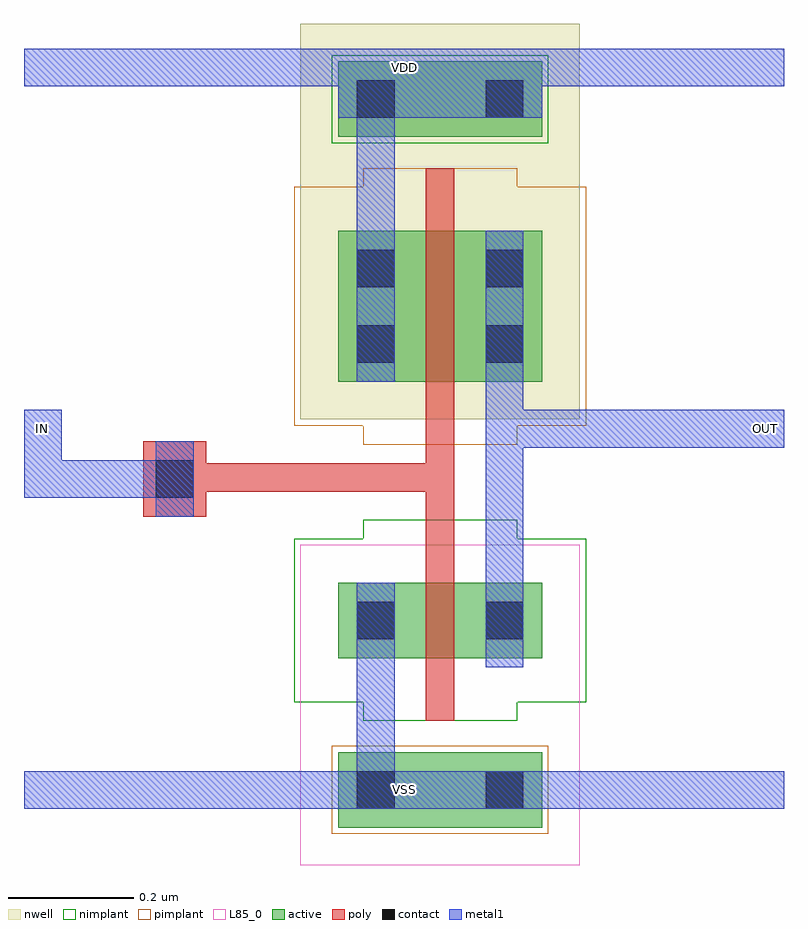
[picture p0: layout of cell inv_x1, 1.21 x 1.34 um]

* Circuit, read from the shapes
.subckt inv_x1 IN OUT VDD VSS
M1 OUT IN VSS VSS nfet w=0.12u l=0.045u
M2 OUT IN VDD VDD pfet w=0.24u l=0.045u
.ends

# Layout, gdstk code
import gdstk
lib = gdstk.Library(unit=1e-6, precision=5e-10)
def R(c, l, rs):  # rectangles x0, y0, x1, y1
    for r in rs: c.add(gdstk.rectangle(r[:2], r[2:], *l))
active = (1, 0)
nwell = (2, 0)
poly = (3, 0)
nimplant = (4, 0)
pimplant = (5, 0)
contact = (6, 0)
metal1 = (7, 0)
L85_0 = (85, 0)

nmos1v_cdns_777489253200 = lib.new_cell('nmos1v_CDNS_777489253200')
R(nmos1v_cdns_777489253200, active, [(-0.14,-0.27,0.185,-0.15), (-0.14,0,0,0.12), (0,0,0.045,0.12), (0.045,0,0.185,0.12)])
R(nmos1v_cdns_777489253200, poly, [(0,-0.1,0.045,-0.05), (0,-0.05,0.045,0), (0,0,0.045,0.12), (0,0.12,0.045,0.17), (0,0.17,0.045,0.22)])
R(nmos1v_cdns_777489253200, nimplant, [(-0.1,-0.1,0.145,0.22), (-0.21,-0.07,0.255,0.19)])
R(nmos1v_cdns_777489253200, pimplant, [(-0.15,-0.28,0.195,-0.14)])
R(nmos1v_cdns_777489253200, contact, [(-0.11,-0.24,-0.05,-0.18), (0.095,-0.24,0.155,-0.18), (-0.11,0.03,-0.05,0.09), (0.095,0.03,0.155,0.09)])
R(nmos1v_cdns_777489253200, metal1, [(-0.14,-0.24,0.185,-0.18), (-0.11,0,-0.05,0.12), (0.095,0,0.155,0.12)])
R(nmos1v_cdns_777489253200, L85_0, [(-0.2,-0.33,0.245,0.18)])
nmos1v_cdns_777489253200.add(gdstk.Label('B_botTap', (0.0225,-0.21), layer=1, texttype=0))
nmos1v_cdns_777489253200.add(gdstk.Label('D_drain_1', (0.115,0.06), layer=1, texttype=0))
nmos1v_cdns_777489253200.add(gdstk.Label('S_source_0', (-0.07,0.06), layer=1, texttype=0))
nmos1v_cdns_777489253200.add(gdstk.Label('G_gate_1', (0.0225,-0.075), layer=3, texttype=0))
nmos1v_cdns_777489253200.add(gdstk.Label('G_gate_1', (0.0225,0.195), layer=3, texttype=0))
nmos1v_cdns_777489253200.add(gdstk.Label('B_botTap', (0.0225,-0.21), layer=7, texttype=0))
nmos1v_cdns_777489253200.add(gdstk.Label('D_drain_1', (0.125,0.06), layer=7, texttype=0))
nmos1v_cdns_777489253200.add(gdstk.Label('S_source_0', (-0.08,0.06), layer=7, texttype=0))
nmos1v_cdns_777489253200.add(gdstk.Label('B_botTap', (0.0225,-0.075), layer=85, texttype=0))

pmos1v_cdns_777489253201 = lib.new_cell('pmos1v_CDNS_777489253201')
R(pmos1v_cdns_777489253201, active, [(-0.14,0,0,0.24), (0,0,0.045,0.24), (0.045,0,0.185,0.24), (-0.14,0.39,0.185,0.51)])
R(pmos1v_cdns_777489253201, nwell, [(-0.2,-0.06,0.245,0.57)])
R(pmos1v_cdns_777489253201, poly, [(0,-0.1,0.045,-0.05), (0,-0.05,0.045,0), (0,0,0.045,0.24), (0,0.24,0.045,0.29), (0,0.29,0.045,0.34)])
R(pmos1v_cdns_777489253201, nimplant, [(-0.15,0.38,0.195,0.52)])
R(pmos1v_cdns_777489253201, pimplant, [(-0.1,-0.1,0.145,0.34), (-0.21,-0.07,0.255,0.31)])
R(pmos1v_cdns_777489253201, contact, [(-0.11,0.03,-0.05,0.09), (0.095,0.03,0.155,0.09), (-0.11,0.15,-0.05,0.21), (0.095,0.15,0.155,0.21), (-0.11,0.42,-0.05,0.48), (0.095,0.42,0.155,0.48)])
R(pmos1v_cdns_777489253201, metal1, [(-0.11,0,-0.05,0.24), (0.095,0,0.155,0.24), (-0.14,0.42,0.185,0.48)])
pmos1v_cdns_777489253201.add(gdstk.Label('B_topTap', (0.0225,0.45), layer=1, texttype=0))
pmos1v_cdns_777489253201.add(gdstk.Label('D_drain_1', (0.115,0.12), layer=1, texttype=0))
pmos1v_cdns_777489253201.add(gdstk.Label('S_source_0', (-0.07,0.12), layer=1, texttype=0))
pmos1v_cdns_777489253201.add(gdstk.Label('G_gate_1', (0.0225,-0.075), layer=3, texttype=0))
pmos1v_cdns_777489253201.add(gdstk.Label('G_gate_1', (0.0225,0.315), layer=3, texttype=0))
pmos1v_cdns_777489253201.add(gdstk.Label('B_topTap', (0.0225,0.45), layer=7, texttype=0))
pmos1v_cdns_777489253201.add(gdstk.Label('D_drain_1', (0.125,0.12), layer=7, texttype=0))
pmos1v_cdns_777489253201.add(gdstk.Label('S_source_0', (-0.08,0.12), layer=7, texttype=0))
pmos1v_cdns_777489253201.add(gdstk.Label('B_topTap', (0.0225,0.255), layer=2, texttype=0))

m1_po_cdns_777489253200 = lib.new_cell('M1_PO_CDNS_777489253200')
R(m1_po_cdns_777489253200, poly, [(-0.05,-0.06,0.05,0.06)])
R(m1_po_cdns_777489253200, contact, [(-0.03,-0.03,0.03,0.03)])
R(m1_po_cdns_777489253200, metal1, [(-0.03,-0.06,0.03,0.06)])

inv_x1 = lib.new_cell('inv_x1')
R(inv_x1, metal1, [(0,0,1.21,0.06), (0,0.575,0.06,0.635), (1.15,0.575,1.21,0.635), (0,1.15,1.21,1.21)])
inv_x1.add(gdstk.FlexPath([(0.6625,0.5275),(0.6625,0.605)], 0.045, ends=(0.0225, 0.025), simple_path=True, layer=3, datatype=0))  # poly
inv_x1.add(gdstk.FlexPath([(0.2625,0.5275),(0.2625,0.535)], 0.045, ends=(0.0225, 0), simple_path=True, layer=3, datatype=0))  # poly
inv_x1.add(gdstk.FlexPath([(0.6625,0.5275),(0.2625,0.5275)], 0.045, ends="extended", simple_path=True, layer=3, datatype=0))  # poly
inv_x1.add(gdstk.FlexPath([(0.6625,0.385),(0.6625,0.5275)], 0.045, ends=(0, 0.0225), simple_path=True, layer=3, datatype=0))  # poly
inv_x1.add(gdstk.FlexPath([(0.56,0.24),(0.56,0)], 0.06, ends="flush", simple_path=True, layer=7, datatype=0))  # metal1
inv_x1.add(gdstk.FlexPath([(0.56,0.92),(0.56,1.16)], 0.06, ends="flush", simple_path=True, layer=7, datatype=0))  # metal1
inv_x1.add(gdstk.FlexPath([(0.03,0.595),(0.03,0.525)], 0.06, ends=(0, 0.03), simple_path=True, layer=7, datatype=0))  # metal1
inv_x1.add(gdstk.FlexPath([(0.03,0.525),(0.24,0.525)], 0.06, ends=(0.03, 0), simple_path=True, layer=7, datatype=0))  # metal1
inv_x1.add(gdstk.FlexPath([(0.765,0.68),(0.765,0.605)], 0.06, ends=(0, 0.03), simple_path=True, layer=7, datatype=0))  # metal1
inv_x1.add(gdstk.FlexPath([(1.15,0.605),(0.765,0.605)], 0.06, ends=(0, 0.03), simple_path=True, layer=7, datatype=0))  # metal1
inv_x1.add(gdstk.FlexPath([(0.765,0.255),(0.735,0.255)], 0.06, ends=(0.03, 0), simple_path=True, layer=7, datatype=0))  # metal1
inv_x1.add(gdstk.FlexPath([(0.765,0.605),(0.765,0.255)], 0.06, ends="extended", simple_path=True, layer=7, datatype=0))  # metal1
inv_x1.add(gdstk.Reference(nmos1v_cdns_777489253200, (0.64,0.24)))
inv_x1.add(gdstk.Reference(pmos1v_cdns_777489253201, (0.64,0.68)))
inv_x1.add(gdstk.Reference(m1_po_cdns_777489253200, (0.24,0.525)))
inv_x1.add(gdstk.Label('VSS', (0.605,0.03), layer=7, texttype=0))
inv_x1.add(gdstk.Label('VDD', (0.605,1.18), layer=7, texttype=0))
inv_x1.add(gdstk.Label('OUT', (1.18,0.605), layer=7, texttype=0))
inv_x1.add(gdstk.Label('IN', (0.03,0.605), layer=7, texttype=0))

lib.write_gds('inv_x1.gds')
